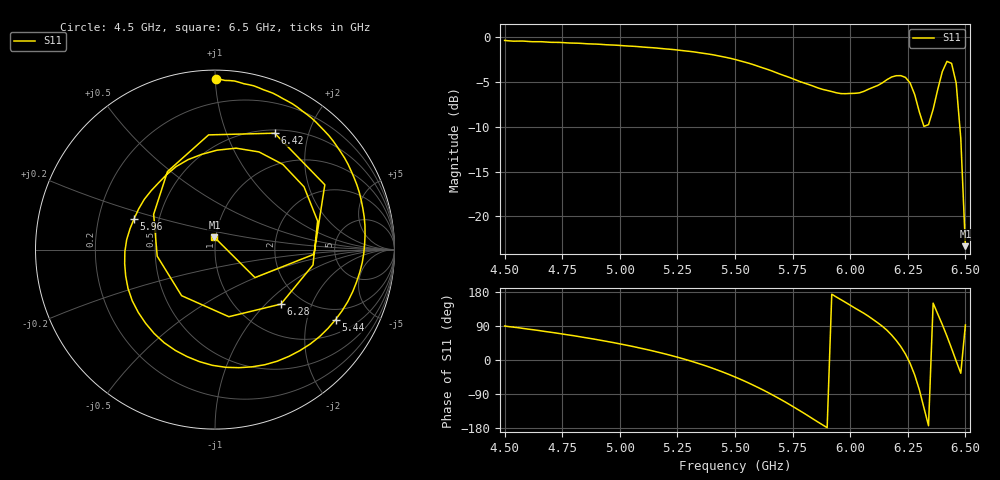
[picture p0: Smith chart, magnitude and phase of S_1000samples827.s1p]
! TOUCHSTONE file generated by CST MICROWAVE STUDIO
! Date and time: Sat Oct 29 12:50:27 2022
! Project name: L.cst
! Parameters = {Di=1.27; Epsilon_r=1.56; InnerDiameter=1.27; Length=2; Lf=10; Lg=60; OuterConductorThickness=0.2921; OuterDiameter=3.6; Wf=3; Wp=41.2; de=1.5; df=6.8; g=0.8; gx=4.8263; gy=2.48747; h=2.34; hf=1.524; px=11.8662; py=13.6091; w=9.7; wx=7.03995; wy=11.1216}
! Header version: 2018
! Port assignment regex: !\s*Touchstone port\s*([0-9]+)\s*=\s*(CST MWS port|CST DS port)\s*([0-9]+|Zmin|Zmax)\s*\(\"(.*)\"\)(\s*mode\s*([0-9]+))?.*
! Touchstone port assignment:
! Touchstone port 1 = CST MWS port 1 ("")
# GHz S DB R 50
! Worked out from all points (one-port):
!   101 points, 4.5 GHz to 6.5 GHz, reference 50 ohm
!   lowest |S11| = -23.3 dB at 6.5 GHz (marker M1), VSWR 1.15, Z = 49.2 + j6.75 ohm
!   |S11| at or under -10 dB: 6.47574 GHz to end of sweep
!   S11 on the Smith chart (normalised r, x): 4.5 GHz: 0.05, +1.00; 5.44 GHz: 1.53, -3.00; 5.96 GHz: 0.36, +0.16; 6.28 GHz: 1.57, -1.23; 6.42 GHz: 0.54, +1.50; 6.5 GHz: 0.98, +0.14
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4.5  -0.42 89.7
4.76  -0.67 67.7
5  -0.97 42.6
5.26  -1.51 5.7
5.44  -2.20 -30.1
5.5  -2.53 -44.8
5.64  -3.63 -84.8
5.76  -4.77 -126.0
5.86  -5.70 -163.7
5.96  -6.33 159.1
6  -6.31 144.6
6.1  -5.63 106.7
6.18  -4.48 65.7
6.22  -4.34 35.2
6.24  -4.53 15.6
6.26  -5.15 -8.9
6.28  -6.44 -39.6
6.3  -8.36 -78.3
6.32  -9.98 -125.9
6.34  -9.79 -173.5
6.36  -8.08 150.1
6.38  -5.87 121.4
6.4  -3.87 93.2
6.42  -2.75 62.8
6.44  -2.97 30.6
6.46  -5.16 -2.7
6.48  -11.31 -35.0
6.5  -23.31 92.5
